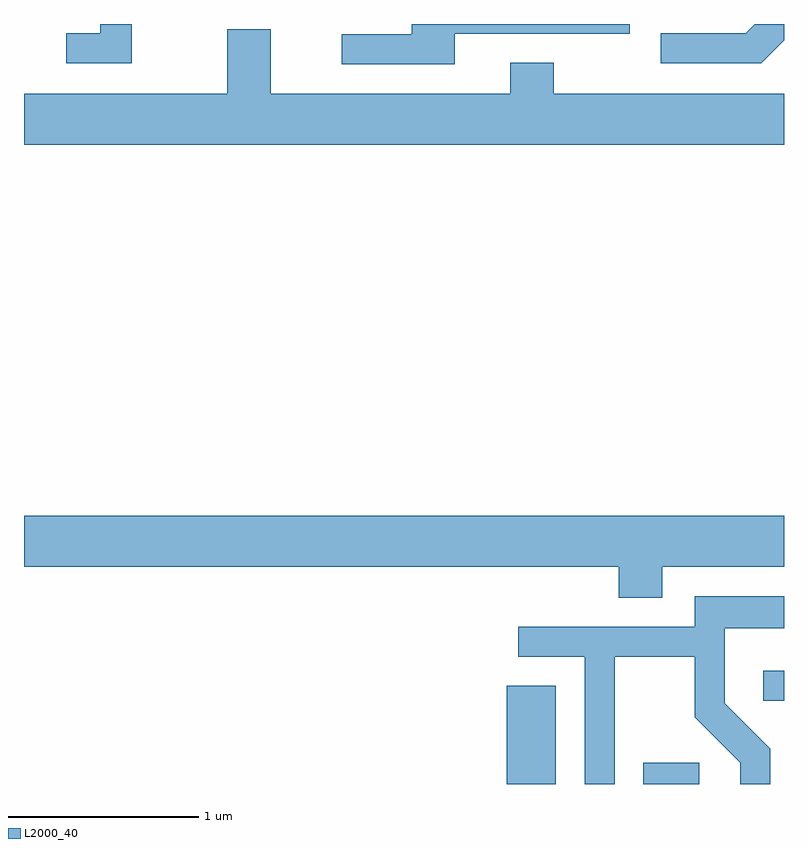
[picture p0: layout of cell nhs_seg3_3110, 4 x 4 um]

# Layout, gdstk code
import gdstk
lib = gdstk.Library(unit=1e-6, precision=1e-09)
def R(c, l, rs):  # rectangles x0, y0, x1, y1
    for r in rs: c.add(gdstk.rectangle(r[:2], r[2:], *l))
def P(c, l, *ps):  # polygons
    for p in ps: c.add(gdstk.Polygon(p, *l))
L2000_40 = (2000, 40)

nhs_seg3_3110 = lib.new_cell('nhs_seg3_3110')
R(nhs_seg3_3110, L2000_40, [(278.151,1215.892,278.409,1216.409), (278.871,1215.892,279.164,1216.004), (279.503,1216.331,279.611,1216.489)])
P(nhs_seg3_3110, L2000_40, [(277.879,1219.841),(278.799,1219.841),(278.799,1219.892),(277.651,1219.892),(277.651,1219.839),(277.283,1219.839),(277.283,1219.681),(277.879,1219.681)],
  [(279.611,1219.806),(279.611,1219.892),(279.456,1219.892),(279.409,1219.844),(278.963,1219.844),(278.963,1219.686),(279.492,1219.686)],
  [(276.179,1219.892),(276.011,1219.892),(276.011,1219.844),(275.833,1219.844),(275.833,1219.686),(276.179,1219.686)],
  [(279.611,1219.524),(278.399,1219.524),(278.399,1219.689),(278.171,1219.689),(278.171,1219.524),(276.909,1219.524),(276.909,1219.864),(276.681,1219.864),(276.681,1219.524),(275.611,1219.524),(275.611,1219.256),(279.611,1219.256)],
  [(278.969,1217.036),(279.611,1217.036),(279.611,1217.304),(275.611,1217.304),(275.611,1217.036),(278.741,1217.036),(278.741,1216.871),(278.969,1216.871)],
  [(278.719,1216.561),(279.141,1216.561),(279.141,1216.244),(279.381,1216.004),(279.381,1215.892),(279.539,1215.892),(279.539,1216.077),(279.299,1216.317),(279.299,1216.711),(279.611,1216.711),(279.611,1216.879),(279.141,1216.879),(279.141,1216.719),(278.213,1216.719),(278.213,1216.561),(278.561,1216.561),(278.561,1215.892),(278.719,1215.892)])

lib.write_gds('nhs_seg3_3110.gds')
